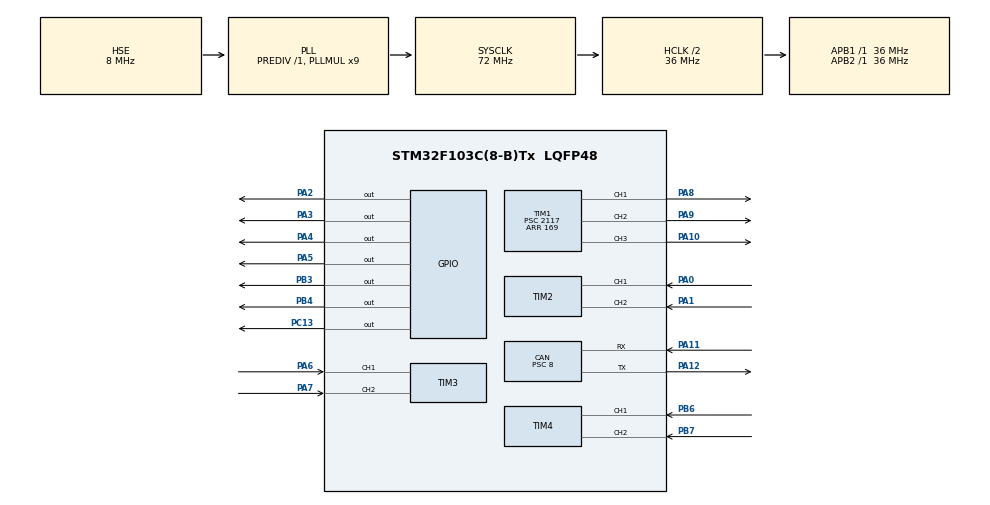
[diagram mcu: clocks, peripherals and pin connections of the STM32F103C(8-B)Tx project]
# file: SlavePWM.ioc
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CAN.ABOM=ENABLE
CAN.AWUM=ENABLE
CAN.BS1=CAN_BS1_4TQ
CAN.BS2=CAN_BS2_4TQ
CAN.CalculateBaudRate=500000
CAN.CalculateTimeBit=2000
CAN.CalculateTimeQuantum=222.22222222222223
CAN.NART=ENABLE
CAN.Prescaler=8
Mcu.Family=STM32F1
Mcu.Name=STM32F103C(8-B)Tx
Mcu.Package=LQFP48
NVIC.PriorityGroup=NVIC_PRIORITYGROUP_4
NVIC.TIM1_BRK_IRQn=true\:0\:0\:false\:false\:true\:true\:true\:true
NVIC.TIM1_UP_IRQn=true\:0\:0\:false\:false\:true\:true\:true\:true
NVIC.TIM2_IRQn=true\:0\:0\:false\:false\:true\:true\:true\:true
NVIC.TIM3_IRQn=true\:0\:0\:false\:false\:true\:true\:true\:true
NVIC.TIM4_IRQn=true\:0\:0\:false\:false\:true\:true\:true\:true
NVIC.USB_LP_CAN1_RX0_IRQn=true\:0\:0\:false\:false\:true\:true\:true\:true
PA0-WKUP.GPIO_PuPd=GPIO_PULLUP
PA0-WKUP.Signal=S_TIM2_CH1_ETR
PA1.GPIO_PuPd=GPIO_PULLUP
PA1.Signal=S_TIM2_CH2
PA10.Signal=S_TIM1_CH3
PA11.GPIO_PuPd=GPIO_PULLUP
PA11.Mode=CAN_Activate
PA11.Signal=CAN_RX
PA12.Mode=CAN_Activate
PA12.Signal=CAN_TX
PA13.Mode=Serial_Wire
PA13.Signal=SYS_JTMS-SWDIO
PA14.Mode=Serial_Wire
PA14.Signal=SYS_JTCK-SWCLK
PA2.PinState=GPIO_PIN_RESET
PA2.Signal=GPIO_Output
PA3.Signal=GPIO_Output
PA4.Signal=GPIO_Output
PA5.Signal=GPIO_Output
PA6.GPIO_PuPd=GPIO_PULLUP
PA6.Signal=S_TIM3_CH1
PA7.GPIO_PuPd=GPIO_PULLUP
PA7.Signal=S_TIM3_CH2
PA8.Signal=S_TIM1_CH1
PA9.Signal=S_TIM1_CH2
PB3.Signal=GPIO_Output
PB4.Signal=GPIO_Output
PB6.GPIO_PuPd=GPIO_PULLUP
PB6.Signal=S_TIM4_CH1
PB7.GPIO_PuPd=GPIO_PULLUP
PB7.Signal=S_TIM4_CH2
PC13-TAMPER-RTC.PinState=GPIO_PIN_SET
PC13-TAMPER-RTC.Signal=GPIO_Output
PD0-OSC_IN.Mode=HSE-External-Oscillator
PD0-OSC_IN.Signal=RCC_OSC_IN
PD1-OSC_OUT.Mode=HSE-External-Oscillator
PD1-OSC_OUT.Signal=RCC_OSC_OUT
ProjectManager.HeapSize=0x200
ProjectManager.StackSize=0x400
ProjectManager.TargetToolchain=MDK-ARM V5
RCC.AHBCLKDivider=RCC_SYSCLK_DIV2
RCC.AHBFreq_Value=36000000
RCC.APB1Freq_Value=36000000
RCC.APB1TimFreq_Value=36000000
RCC.APB2Freq_Value=36000000
RCC.APB2TimFreq_Value=36000000
RCC.HCLKFreq_Value=36000000
RCC.PLLMUL=RCC_PLL_MUL9
RCC.PLLSourceVirtual=RCC_PLLSOURCE_HSE
RCC.SYSCLKFreq_VALUE=72000000
RCC.SYSCLKSource=RCC_SYSCLKSOURCE_PLLCLK
RCC.USBFreq_Value=72000000
SH.S_TIM1_CH1.0=TIM1_CH1,PWM Generation1 CH1
SH.S_TIM1_CH2.0=TIM1_CH2,PWM Generation2 CH2
SH.S_TIM1_CH3.0=TIM1_CH3,PWM Generation3 CH3
SH.S_TIM2_CH1_ETR.0=TIM2_CH1,Encoder_Interface
SH.S_TIM2_CH2.0=TIM2_CH2,Encoder_Interface
SH.S_TIM3_CH1.0=TIM3_CH1,Encoder_Interface
SH.S_TIM3_CH2.0=TIM3_CH2,Encoder_Interface
SH.S_TIM4_CH1.0=TIM4_CH1,Encoder_Interface
SH.S_TIM4_CH2.0=TIM4_CH2,Encoder_Interface
TIM1.Channel-PWM\ Generation1\ CH1=TIM_CHANNEL_1
TIM1.Channel-PWM\ Generation2\ CH2=TIM_CHANNEL_2
TIM1.Channel-PWM\ Generation3\ CH3=TIM_CHANNEL_3
TIM1.Period=169
TIM1.Prescaler=2117
TIM2.EncoderMode=TIM_ENCODERMODE_TI12
TIM3.EncoderMode=TIM_ENCODERMODE_TI12
TIM4.EncoderMode=TIM_ENCODERMODE_TI12
board=custom

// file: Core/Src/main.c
/* USER CODE BEGIN Header */
/**
  ******************************************************************************
  * @file           : main.c
  * @brief          : Main program body
  ******************************************************************************
  * @attention
  *
  * Copyright (c) 2023 STMicroelectronics.
  * All rights reserved.
  *
  * This software is licensed under terms that can be found in the LICENSE file
  * in the root directory of this software component.
  * If no LICENSE file comes with this software, it is provided AS-IS.
  *
  ******************************************************************************
  */
/* USER CODE END Header */
#include "main.h"

/* USER CODE BEGIN Includes */
#include <stdio.h>
#include "stdlib.h"
#include "string.h"
#include "math.h"
/* USER CODE END Includes */

/* USER CODE BEGIN PD */
#define number 10	// STT cua module

#define sampletime 0.01 // Thoi gian lay mau = Chu ky PWM
#define encoder_resolution  11 // Do phan giai encoder chua qua hop so
#define gear_ratio 35
#define PI 2*acos(0.0)

/* USER CODE END PD */

CAN_HandleTypeDef hcan;

TIM_HandleTypeDef htim1;
TIM_HandleTypeDef htim2;
TIM_HandleTypeDef htim3;
TIM_HandleTypeDef htim4;

/* USER CODE BEGIN PV */
CAN_TxHeaderTypeDef TxHeader;
CAN_RxHeaderTypeDef RxHeader;
CAN_FilterTypeDef CanFilter;

//Cac bien cho CAN
uint16_t TxID = 0x502; // Ðia chi gui tin nhan di den Master
uint16_t RegID = 0x501; // Ðia chi nhan tin nhan dang ki
uint16_t DataID = 0x503; // Dia chi nhan tin nhan Data de dieu khien dong co
uint16_t StateID = 0x504; // Dia chi nhan tin nhan Trang thai và che do hoat d?ng
uint16_t TxVerifyID = 0x505;

uint32_t TxMailbox;
uint8_t TxData[8];  // Mang chua tin nhan gui di
uint8_t RxData[8];  // Mang chua tin nhan nhan duoc

uint8_t START_CAN = 0;  // Bien de bat dau gui data dieu khien
uint8_t State = 0, Mode = 0;
uint8_t TT_Receive = 0; // Cac bien trang thai

// Du lieu nhan duoc
int16_t pos, pre_pos, pos1; // Goc can xoay tai tam cua module
int16_t dir, pre_dir; // Huong can di chuyen cua hop
uint16_t vel, pre_vel; // Toc do khi di chuyen
uint16_t count_data = 0, pre_count =0;

//Cac bien cho Encoder và PWM
volatile short count; // Bien de luu gia tri Encoder doc duoc
short encoder[3];

// Cac bien PID Vi tri
float Pos[4];
float KP_P = 5.6;
float KI_P = 0.026;
float KD_P = 0.0156;
float error_P[3] ;
float error1_P[3];
float error2_P[3];
float pwm_output_P[3] ;
float lastpwm_output_P[3];
float alpha_P;
float	beta_P;
float	gamma_P;

// Cac bien PID Van toc
float V[3];
float KP_V = 0.5;
float KI_V = 0.005;
float KD_V = 0.01;
int8_t cur_dir[3] = {1, 1, 1}; // Huong quay cua dong co khi doc encoder
float cur_speed[3];
float error_V[3] ;
float error1_V[3];
float error2_V[3];
float pwm_output_V[3] ;
float lastpwm_output_V[3];
float alpha_V;
float	beta_V;
float	gamma_V;

/* USER CODE END PV */

void SystemClock_Config(void);
static void MX_GPIO_Init(void);
static void MX_CAN_Init(void);
static void MX_TIM1_Init(void);
static void MX_TIM2_Init(void);
static void MX_TIM3_Init(void);
static void MX_TIM4_Init(void);
/* USER CODE BEGIN PFP */

/*-----Ham gui tin nhan CAN-----*/
void CAN_Send(uint16_t ID, uint8_t leng)
{
	// Thiet lap các thông so cho gói tin du lieu can gui di
  TxHeader.StdId =  ID  ;        // Dia chi ID cua goi tin can gui di
  TxHeader.RTR = CAN_RTR_DATA;      // Loai gói tin du lieu
  TxHeader.IDE = CAN_ID_STD;       // Kieu dia chi ID
  TxHeader.DLC = leng;                // Ðo dài du lieu can gui di
  // Thêm gói tin du lieu vào hàng doi truyen và truyen di trên mang CAN
  if (HAL_CAN_AddTxMessage(&hcan, &TxHeader, TxData, &TxMailbox) == HAL_OK)
  {
  }
	else
	{
		Error_Handler();
	}
  // Cho den khi gói tin du lieu duoc truyen hoàn tat
  while (HAL_CAN_GetTxMailboxesFreeLevel(&hcan) != 3)
  {
  }
}

/*-----Ham ngat nhan du lieu CAN và xu ly-----*/
void HAL_CAN_RxFifo0MsgPendingCallback(CAN_HandleTypeDef *hcan)
{
	TT_Receive = 3;
	if(HAL_CAN_GetRxMessage(hcan, CAN_RX_FIFO0, &RxHeader, RxData) == HAL_OK)
	{
		TT_Receive = 2;

		// Nhan tin nhan xac nhan da ket noi giao tiep CAN thanh cong
		if(RxHeader.StdId ==  RegID && RxData[0] == (int)number)
		{
			TT_Receive = 1;
			TxData[0] = (int)number;
			CAN_Send(TxID, 1);
			START_CAN = 1;
			HAL_GPIO_WritePin(GPIOC, GPIO_PIN_13, GPIO_PIN_RESET);
		}
		// Nhan tin nhan trang thai hoat dong và che do
		if(RxHeader.StdId ==  StateID && RxData[0] == (int)number)
		{
			State = RxData[1];
			Mode = RxData[2];

			TxData[0] = (int)number; //Gui tin nhan xac nhan
			CAN_Send(TxVerifyID, 1);
		}
		//Xu li tin data nhan duoc de dieu khien
		if(RxHeader.StdId ==  DataID && RxData[0] == (int)number)
		{
			//Xu lí bien du lieu doc duoc
			pos = RxData[1] << 8 | RxData[2];
			dir = RxData[3] << 8 | RxData[4];
			vel = RxData[5] << 8 | RxData[6];

			TxData[0] = (int)number; // Gui tin nhan xac nhan
			CAN_Send(TxVerifyID, 1);
			count_data ++;
		}
	}
}

/*-----Ham doc gia tri Encoder và xac dinh chieu quay-----*/
int readEncoder(uint8_t motor) // motor chi stt cua dong co. 0 1 2
{
	switch(motor)
	{
		case 0:
		count = __HAL_TIM_GET_COUNTER(&htim2);
//		__HAL_TIM_SetCounter(&htim2, 0);
		break;

		case 1:
		count = __HAL_TIM_GET_COUNTER(&htim3);
//		__HAL_TIM_SetCounter(&htim3, 0);
		break;

		case 2:
		count = __HAL_TIM_GET_COUNTER(&htim4);
//		__HAL_TIM_SetCounter(&htim4, 0);
		break;
	}

	if((int)count > 32768)
	{
		count = count - 65536;
	}

	return count;
}

/* -----Ham dieu khien dong co quay thuan-----V----*/
void Forward(uint8_t motor, float velocity) // vel
{
	switch(motor)
	{
		case 0:
			HAL_GPIO_WritePin(GPIOB, GPIO_PIN_4, GPIO_PIN_RESET); // chan In 1
			HAL_GPIO_WritePin(GPIOB, GPIO_PIN_3, GPIO_PIN_SET);	// chan In 2
			__HAL_TIM_SetCompare(&htim1, TIM_CHANNEL_3, velocity); // Chan Enable
			break;
		case 1:
			HAL_GPIO_WritePin(GPIOA, GPIO_PIN_3, GPIO_PIN_RESET); // chan In 1
			HAL_GPIO_WritePin(GPIOA, GPIO_PIN_2, GPIO_PIN_SET);	// chan In 2
			__HAL_TIM_SetCompare(&htim1, TIM_CHANNEL_1, velocity); // Chan Enable
			break;
		case 2:
			HAL_GPIO_WritePin(GPIOA, GPIO_PIN_4, GPIO_PIN_RESET); // chan In 1
			HAL_GPIO_WritePin(GPIOA, GPIO_PIN_5, GPIO_PIN_SET);	// chan In 2
			__HAL_TIM_SetCompare(&htim1, TIM_CHANNEL_2, velocity); // Chan Enable
			break;
	}
}
/* -----Ham dieu khien dong co quay nghich-----V----*/
void Backward(uint8_t motor, float velocity) // vel
{
	switch(motor)
	{
		case 0:
			HAL_GPIO_WritePin(GPIOB, GPIO_PIN_4, GPIO_PIN_SET); // chan In 1
			HAL_GPIO_WritePin(GPIOB, GPIO_PIN_3, GPIO_PIN_RESET);	// chan In 2
			__HAL_TIM_SetCompare(&htim1, TIM_CHANNEL_3, velocity); // Chan Enable
			break;
		case 1:
			HAL_GPIO_WritePin(GPIOA, GPIO_PIN_3, GPIO_PIN_SET); // chan In 1
			HAL_GPIO_WritePin(GPIOA, GPIO_PIN_2, GPIO_PIN_RESET);	// chan In 2
			__HAL_TIM_SetCompare(&htim1, TIM_CHANNEL_1, velocity); // Chan Enable
			break;
		case 2:
			HAL_GPIO_WritePin(GPIOA, GPIO_PIN_4, GPIO_PIN_SET); // chan In 1
			HAL_GPIO_WritePin(GPIOA , GPIO_PIN_5, GPIO_PIN_RESET);	// chan In 2
			__HAL_TIM_SetCompare(&htim1, TIM_CHANNEL_2, velocity); // Chan Enable
			break;
	}
}
/* -----Ham dung dong co-----V----*/
void Stop(uint8_t motor)
{
	switch(motor)
	{
		case 0:
			HAL_GPIO_WritePin(GPIOB, GPIO_PIN_4, GPIO_PIN_RESET); // chan In 1
			HAL_GPIO_WritePin(GPIOB, GPIO_PIN_3, GPIO_PIN_RESET);	// chan In 2
			__HAL_TIM_SetCounter(&htim2, 0);
			break;
		case 1:
			HAL_GPIO_WritePin(GPIOA, GPIO_PIN_3, GPIO_PIN_RESET); // chan In 1
			HAL_GPIO_WritePin(GPIOA, GPIO_PIN_2, GPIO_PIN_RESET);	// chan In 2
			__HAL_TIM_SetCounter(&htim3, 0);
			break;
		case 2:
			HAL_GPIO_WritePin(GPIOA, GPIO_PIN_4, GPIO_PIN_RESET); // chan In 1
			HAL_GPIO_WritePin(GPIOA, GPIO_PIN_5, GPIO_PIN_RESET);	// chan In 2
			__HAL_TIM_SetCounter(&htim4, 0);
			break;
	}
}

int Ctl_Pos(float desired_pos)
{
	alpha_P = 2*sampletime*KP_P+KI_P*sampletime*sampletime+2*KD_P;
	beta_P = KI_P*sampletime*sampletime-4*KD_P-2*KP_P*sampletime;
	gamma_P = 2*KD_P;

	do
	{
		if(State == 0) break;

		encoder[0] = readEncoder(0);
		Pos[0] = (float)encoder[0]*360/(4*gear_ratio*encoder_resolution);
		error_P[0] = desired_pos - Pos[0];

		pwm_output_P[0] = (alpha_P*error_P[0] + beta_P*error1_P[0] + gamma_P*error2_P[0] + 2*sampletime*lastpwm_output_P[0])/(2*sampletime);

		lastpwm_output_P[0] = pwm_output_P[0];
		error2_P[0]=error1_P[0];
		error1_P[0]=error_P[0];

		//Gioi han gia tri PWM trong khoang tu -170 den 170;
		if(pwm_output_P[0] > 50) pwm_output_P[0] = 50;
		else if(pwm_output_P[0] < -50) pwm_output_P[0] = -50;

		for(int i = 0; i < 3; i++)
		{
			if(pwm_output_P[0] > 0) Forward(i, pwm_output_P[0]);
			else if(pwm_output_P[0] < 0) Backward(i, fabs(pwm_output_P[0]));
			else Stop(i);
		}

		HAL_Delay(10);
	}
		while(error_P[0] > 3 || error_P[0] < -3);
		for(int i = 0; i < 3; i++)
		{
			Stop(i);
		}

}

void ctl_Vel(float desired_dir, float desired_vel)
{
	alpha_V=2*sampletime*KP_V+KI_V*sampletime*sampletime+2*KD_V;
	beta_V=KI_V*sampletime*sampletime-4*KD_V-2*KP_V*sampletime;
	gamma_V=2*KD_V;

	float dirR = dir * PI /180;
	V[0]= vel*sin(dirR) ;
	V[1] = vel*((sqrt(3)/2)*cos(dirR) - sin(dirR)/2);
	V[2] = vel*(-(sqrt(3)/2)*cos(dirR) - sin(dirR)/2);

	for(int i = 0; i < 3; i++)
	{
		if(V[i] > 0) Forward(i, V[i]);
		else if(V[i] < 0) Backward(i, fabs(V[i]));
		else Stop(i);
	}

	/*------------------- PID VAN TOC------------------*/
//	do
//	{
//		for(int i = 0; i < 3; i++)
//		{
//			encoder[i] = readEncoder(i);
//
//			cur_speed[i] = (encoder[i]*60/(2*sampletime*gear_ratio*encoder_resolution));
//			error_V[i] = V[i] - cur_speed[i];
//
//			pwm_output_V[i] = (alpha_V*error_V[i] + beta_V*error1_V[i] + gamma_V*error2_V[i] + 2*sampletime*lastpwm_output_V[i])/(2*sampletime);
//
//			lastpwm_output_V[i] = pwm_output_V[i];
//			error2_V[i]=error1_V[i];
//			error1_V[i]=error_V[i];
//
//			// Gioi han PWM Output
//			if(pwm_output_V[i]>170) pwm_output_V[i] = 170;
//			else if(pwm_output_V[i] <-170) pwm_output_V[i] = -170;
//		}
//
//		for(int i = 0; i < 3; i++)
//		{
//			if(pwm_output_V[i] > 0) Forward(i, pwm_output_V[i]);
//			else if(pwm_output_V[i] < 0) Backward(i, fabs(pwm_output_V[i]));
//			else Stop(i);
//
//		}
//		__HAL_TIM_SetCounter(&htim2, 0);
//		__HAL_TIM_SetCounter(&htim3, 0);
//		__HAL_TIM_SetCounter(&htim4, 0);
//		HAL_Delay(10);
//	} while(error_V[0] > 2 || error_V[0] < -2);
}
/* USER CODE END PFP */

int main(void)
{

  /* MCU Configuration--------------------------------------------------------*/

  /* Reset of all peripherals, Initializes the Flash interface and the Systick. */
  HAL_Init();

  /* Configure the system clock */
  SystemClock_Config();

  /* Initialize all configured peripherals */
  MX_GPIO_Init();
  MX_CAN_Init();
  MX_TIM1_Init();
  MX_TIM2_Init();
  MX_TIM3_Init();
  MX_TIM4_Init();
  /* USER CODE BEGIN 2 */
	HAL_TIM_PWM_Start(&htim1, TIM_CHANNEL_1); 															// Bat dau che do PWM cua Timer1 Channel 1
	HAL_TIM_PWM_Start(&htim1, TIM_CHANNEL_2); 															// Bat dau che do PWM cua Timer1 Channel 2
	HAL_TIM_PWM_Start(&htim1, TIM_CHANNEL_3); 															// Bat dau che do PWM cua Timer1 Channel 3

	HAL_TIM_Encoder_Start_IT(&htim2, TIM_CHANNEL_1 | TIM_CHANNEL_2);							// Bat dau che do Read Encoder cua Timer2 - Channel 1&2
	HAL_TIM_Encoder_Start_IT(&htim3, TIM_CHANNEL_1 | TIM_CHANNEL_2);							// Bat dau che do Read Encoder cua Timer3 - Channel 1&2
	HAL_TIM_Encoder_Start_IT(&htim4, TIM_CHANNEL_1 | TIM_CHANNEL_2);							// Bat dau che do Read Encoder cua Timer4 - Channel 1&2

	if(HAL_CAN_Start(&hcan) != HAL_OK)
	{
		Error_Handler();
	}

	if(HAL_CAN_ActivateNotification(&hcan, CAN_IT_RX_FIFO0_MSG_PENDING) != HAL_OK)
	{
		Error_Handler();
	}

	HAL_NVIC_SetPriority(CAN_IT_RX_FIFO0_MSG_PENDING, 0, 0);
	HAL_NVIC_EnableIRQ(CAN_IT_RX_FIFO0_MSG_PENDING);

	Stop(0);
	Stop(1);
	Stop(2);

  /* USER CODE END 2 */

  /* Infinite loop */
  while (1)
  {

    /* USER CODE BEGIN 3 */
		if(START_CAN == 1)
		{
			if(State == 1)
			{
				/*------- Chuong Trinh TEST--------*/
				if(Mode == 3)
				{
					if(pos != pre_pos)
					{
						pos1 = (float)70/29*pos; // pos: goc can xoay cua module. pos1: goc xoay cua banh xe
						Ctl_Pos(pos1);
						pre_pos = pos;
						pre_vel = vel;
					}
					else if(vel != pre_vel)
					{
						if(vel > 0)
						{
							for(int i = 0; i < 3; i++)
							{
								Forward(i, vel);
							}
						}
						else if(vel < 0)
						{
							for(int i = 0; i < 3; i++)
							{
								Backward(i, vel);
							}
						}
						else if(vel == 0)
						{
							for(int i = 0; i < 3; i++)
							{
								Stop(i);
							}
						}
						pre_pos = pos;
						pre_vel = vel;
					}
				}
				/*--- Chuong trinh dieu khien chinh (Mode = 1 or Mode = 2) ---*/
				else if(Mode == 2)
				{
					if(count_data != pre_count)
					{
						if(pos != 0)
						{
							// DK Vitri

							pos1 = (float)70/29*pos; // pos: goc can xoay cua module. pos1: goc xoay cua banh xe
							Ctl_Pos(pos1);

							pre_pos = pos;
						}
							// DK Van toc
						else
						{
							for(int i = 0; i < 3; i++)
							{
								Stop(i);
							}

							ctl_Vel(dir, vel); //vel: Van toc trung binh module

							pre_dir = dir;
							pre_vel = vel;
						}
						pre_count = count_data;
					}
				}
			}
			else //State = 0 : Stop ALL
			{
				for(int k = 0; k < 3; k++)
				{
					Stop(k);
				}
			}
		}
	}
  /* USER CODE END 3 */
}
void SystemClock_Config(void)
{
  RCC_OscInitTypeDef RCC_OscInitStruct = {0};
  RCC_ClkInitTypeDef RCC_ClkInitStruct = {0};

  /** Initializes the RCC Oscillators according to the specified parameters
  * in the RCC_OscInitTypeDef structure.
  */
  RCC_OscInitStruct.OscillatorType = RCC_OSCILLATORTYPE_HSE;
  RCC_OscInitStruct.HSEState = RCC_HSE_ON;
  RCC_OscInitStruct.HSEPredivValue = RCC_HSE_PREDIV_DIV1;
  RCC_OscInitStruct.HSIState = RCC_HSI_ON;
  RCC_OscInitStruct.PLL.PLLState = RCC_PLL_ON;
  RCC_OscInitStruct.PLL.PLLSource = RCC_PLLSOURCE_HSE;
  RCC_OscInitStruct.PLL.PLLMUL = RCC_PLL_MUL9;
  if (HAL_RCC_OscConfig(&RCC_OscInitStruct) != HAL_OK)
  {
    Error_Handler();
  }

  /** Initializes the CPU, AHB and APB buses clocks
  */
  RCC_ClkInitStruct.ClockType = RCC_CLOCKTYPE_HCLK|RCC_CLOCKTYPE_SYSCLK
                              |RCC_CLOCKTYPE_PCLK1|RCC_CLOCKTYPE_PCLK2;
  RCC_ClkInitStruct.SYSCLKSource = RCC_SYSCLKSOURCE_PLLCLK;
  RCC_ClkInitStruct.AHBCLKDivider = RCC_SYSCLK_DIV2;
  RCC_ClkInitStruct.APB1CLKDivider = RCC_HCLK_DIV1;
  RCC_ClkInitStruct.APB2CLKDivider = RCC_HCLK_DIV1;

  if (HAL_RCC_ClockConfig(&RCC_ClkInitStruct, FLASH_LATENCY_2) != HAL_OK)
  {
    Error_Handler();
  }
}

static void MX_CAN_Init(void)
{

  hcan.Instance = CAN1;
  hcan.Init.Prescaler = 8;
  hcan.Init.Mode = CAN_MODE_NORMAL;
  hcan.Init.SyncJumpWidth = CAN_SJW_1TQ;
  hcan.Init.TimeSeg1 = CAN_BS1_4TQ;
  hcan.Init.TimeSeg2 = CAN_BS2_4TQ;
  hcan.Init.TimeTriggeredMode = DISABLE;
  hcan.Init.AutoBusOff = ENABLE;
  hcan.Init.AutoWakeUp = ENABLE;
  hcan.Init.AutoRetransmission = ENABLE;
  hcan.Init.ReceiveFifoLocked = DISABLE;
  hcan.Init.TransmitFifoPriority = DISABLE;
  if (HAL_CAN_Init(&hcan) != HAL_OK)
  {
    Error_Handler();
  }
  /* USER CODE BEGIN CAN_Init 2 */

	/* CAU HINH BO LOC CAN----------------------*/
  CanFilter.FilterActivation = CAN_FILTER_ENABLE;
  CanFilter.FilterBank = 1;
  CanFilter.FilterFIFOAssignment = CAN_FILTER_FIFO0;
  CanFilter.FilterIdHigh = 0x0000;
  CanFilter.FilterIdLow = 0x0000;
  CanFilter.FilterMaskIdHigh = 0x0000;
  CanFilter.FilterMaskIdLow = 0x0000;
  CanFilter.FilterMode = CAN_FILTERMODE_IDMASK;
  CanFilter.FilterScale = CAN_FILTERSCALE_32BIT;
  CanFilter.SlaveStartFilterBank = 1;
  if(HAL_CAN_ConfigFilter(&hcan, &CanFilter) != HAL_OK)
  {
	  Error_Handler();
  }
  /* USER CODE END CAN_Init 2 */

}

static void MX_TIM1_Init(void)
{

  TIM_MasterConfigTypeDef sMasterConfig = {0};
  TIM_OC_InitTypeDef sConfigOC = {0};
  TIM_BreakDeadTimeConfigTypeDef sBreakDeadTimeConfig = {0};

  htim1.Instance = TIM1;
  htim1.Init.Prescaler = 2117;
  htim1.Init.CounterMode = TIM_COUNTERMODE_UP;
  htim1.Init.Period = 169;
  htim1.Init.ClockDivision = TIM_CLOCKDIVISION_DIV1;
  htim1.Init.RepetitionCounter = 0;
  htim1.Init.AutoReloadPreload = TIM_AUTORELOAD_PRELOAD_DISABLE;
  if (HAL_TIM_PWM_Init(&htim1) != HAL_OK)
  {
    Error_Handler();
  }
  sMasterConfig.MasterOutputTrigger = TIM_TRGO_RESET;
  sMasterConfig.MasterSlaveMode = TIM_MASTERSLAVEMODE_DISABLE;
  if (HAL_TIMEx_MasterConfigSynchronization(&htim1, &sMasterConfig) != HAL_OK)
  {
    Error_Handler();
  }
  sConfigOC.OCMode = TIM_OCMODE_PWM1;
  sConfigOC.Pulse = 0;
  sConfigOC.OCPolarity = TIM_OCPOLARITY_HIGH;
  sConfigOC.OCNPolarity = TIM_OCNPOLARITY_HIGH;
  sConfigOC.OCFastMode = TIM_OCFAST_DISABLE;
  sConfigOC.OCIdleState = TIM_OCIDLESTATE_RESET;
  sConfigOC.OCNIdleState = TIM_OCNIDLESTATE_RESET;
  if (HAL_TIM_PWM_ConfigChannel(&htim1, &sConfigOC, TIM_CHANNEL_1) != HAL_OK)
  {
    Error_Handler();
  }
  if (HAL_TIM_PWM_ConfigChannel(&htim1, &sConfigOC, TIM_CHANNEL_2) != HAL_OK)
  {
    Error_Handler();
  }
  if (HAL_TIM_PWM_ConfigChannel(&htim1, &sConfigOC, TIM_CHANNEL_3) != HAL_OK)
  {
    Error_Handler();
  }
  sBreakDeadTimeConfig.OffStateRunMode = TIM_OSSR_DISABLE;
  sBreakDeadTimeConfig.OffStateIDLEMode = TIM_OSSI_DISABLE;
  sBreakDeadTimeConfig.LockLevel = TIM_LOCKLEVEL_OFF;
  sBreakDeadTimeConfig.DeadTime = 0;
  sBreakDeadTimeConfig.BreakState = TIM_BREAK_DISABLE;
  sBreakDeadTimeConfig.BreakPolarity = TIM_BREAKPOLARITY_HIGH;
  sBreakDeadTimeConfig.AutomaticOutput = TIM_AUTOMATICOUTPUT_DISABLE;
  if (HAL_TIMEx_ConfigBreakDeadTime(&htim1, &sBreakDeadTimeConfig) != HAL_OK)
  {
    Error_Handler();
  }
  HAL_TIM_MspPostInit(&htim1);

}

static void MX_TIM2_Init(void)
{

  TIM_Encoder_InitTypeDef sConfig = {0};
  TIM_MasterConfigTypeDef sMasterConfig = {0};

  htim2.Instance = TIM2;
  htim2.Init.Prescaler = 0;
  htim2.Init.CounterMode = TIM_COUNTERMODE_UP;
  htim2.Init.Period = 65535;
  htim2.Init.ClockDivision = TIM_CLOCKDIVISION_DIV1;
  htim2.Init.AutoReloadPreload = TIM_AUTORELOAD_PRELOAD_DISABLE;
  sConfig.EncoderMode = TIM_ENCODERMODE_TI12;
  sConfig.IC1Polarity = TIM_ICPOLARITY_RISING;
  sConfig.IC1Selection = TIM_ICSELECTION_DIRECTTI;
  sConfig.IC1Prescaler = TIM_ICPSC_DIV1;
  sConfig.IC1Filter = 0;
  sConfig.IC2Polarity = TIM_ICPOLARITY_RISING;
  sConfig.IC2Selection = TIM_ICSELECTION_DIRECTTI;
  sConfig.IC2Prescaler = TIM_ICPSC_DIV1;
  sConfig.IC2Filter = 0;
  if (HAL_TIM_Encoder_Init(&htim2, &sConfig) != HAL_OK)
  {
    Error_Handler();
  }
  sMasterConfig.MasterOutputTrigger = TIM_TRGO_RESET;
  sMasterConfig.MasterSlaveMode = TIM_MASTERSLAVEMODE_DISABLE;
  if (HAL_TIMEx_MasterConfigSynchronization(&htim2, &sMasterConfig) != HAL_OK)
  {
    Error_Handler();
  }

}

static void MX_TIM3_Init(void)
{

  TIM_Encoder_InitTypeDef sConfig = {0};
  TIM_MasterConfigTypeDef sMasterConfig = {0};

  htim3.Instance = TIM3;
  htim3.Init.Prescaler = 0;
  htim3.Init.CounterMode = TIM_COUNTERMODE_UP;
  htim3.Init.Period = 65535;
  htim3.Init.ClockDivision = TIM_CLOCKDIVISION_DIV1;
  htim3.Init.AutoReloadPreload = TIM_AUTORELOAD_PRELOAD_DISABLE;
  sConfig.EncoderMode = TIM_ENCODERMODE_TI12;
  sConfig.IC1Polarity = TIM_ICPOLARITY_RISING;
  sConfig.IC1Selection = TIM_ICSELECTION_DIRECTTI;
  sConfig.IC1Prescaler = TIM_ICPSC_DIV1;
  sConfig.IC1Filter = 0;
  sConfig.IC2Polarity = TIM_ICPOLARITY_RISING;
  sConfig.IC2Selection = TIM_ICSELECTION_DIRECTTI;
  sConfig.IC2Prescaler = TIM_ICPSC_DIV1;
  sConfig.IC2Filter = 0;
  if (HAL_TIM_Encoder_Init(&htim3, &sConfig) != HAL_OK)
  {
    Error_Handler();
  }
  sMasterConfig.MasterOutputTrigger = TIM_TRGO_RESET;
  sMasterConfig.MasterSlaveMode = TIM_MASTERSLAVEMODE_DISABLE;
  if (HAL_TIMEx_MasterConfigSynchronization(&htim3, &sMasterConfig) != HAL_OK)
  {
    Error_Handler();
  }

}

static void MX_TIM4_Init(void)
{

  TIM_Encoder_InitTypeDef sConfig = {0};
  TIM_MasterConfigTypeDef sMasterConfig = {0};

  htim4.Instance = TIM4;
  htim4.Init.Prescaler = 0;
  htim4.Init.CounterMode = TIM_COUNTERMODE_UP;
  htim4.Init.Period = 65535;
  htim4.Init.ClockDivision = TIM_CLOCKDIVISION_DIV1;
  htim4.Init.AutoReloadPreload = TIM_AUTORELOAD_PRELOAD_DISABLE;
  sConfig.EncoderMode = TIM_ENCODERMODE_TI12;
  sConfig.IC1Polarity = TIM_ICPOLARITY_RISING;
  sConfig.IC1Selection = TIM_ICSELECTION_DIRECTTI;
  sConfig.IC1Prescaler = TIM_ICPSC_DIV1;
  sConfig.IC1Filter = 0;
  sConfig.IC2Polarity = TIM_ICPOLARITY_RISING;
  sConfig.IC2Selection = TIM_ICSELECTION_DIRECTTI;
  sConfig.IC2Prescaler = TIM_ICPSC_DIV1;
  sConfig.IC2Filter = 0;
  if (HAL_TIM_Encoder_Init(&htim4, &sConfig) != HAL_OK)
  {
    Error_Handler();
  }
  sMasterConfig.MasterOutputTrigger = TIM_TRGO_RESET;
  sMasterConfig.MasterSlaveMode = TIM_MASTERSLAVEMODE_DISABLE;
  if (HAL_TIMEx_MasterConfigSynchronization(&htim4, &sMasterConfig) != HAL_OK)
  {
    Error_Handler();
  }

}

static void MX_GPIO_Init(void)
{
  GPIO_InitTypeDef GPIO_InitStruct = {0};

  /* GPIO Ports Clock Enable */
  __HAL_RCC_GPIOC_CLK_ENABLE();
  __HAL_RCC_GPIOD_CLK_ENABLE();
  __HAL_RCC_GPIOA_CLK_ENABLE();
  __HAL_RCC_GPIOB_CLK_ENABLE();

  /*Configure GPIO pin Output Level */
  HAL_GPIO_WritePin(GPIOC, GPIO_PIN_13, GPIO_PIN_SET);

  /*Configure GPIO pin Output Level */
  HAL_GPIO_WritePin(GPIOA, GPIO_PIN_2|GPIO_PIN_3|GPIO_PIN_4|GPIO_PIN_5, GPIO_PIN_RESET);

  /*Configure GPIO pin Output Level */
  HAL_GPIO_WritePin(GPIOB, GPIO_PIN_3|GPIO_PIN_4, GPIO_PIN_RESET);

  /*Configure GPIO pin : PC13 */
  GPIO_InitStruct.Pin = GPIO_PIN_13;
  GPIO_InitStruct.Mode = GPIO_MODE_OUTPUT_PP;
  GPIO_InitStruct.Pull = GPIO_NOPULL;
  GPIO_InitStruct.Speed = GPIO_SPEED_FREQ_LOW;
  HAL_GPIO_Init(GPIOC, &GPIO_InitStruct);

  /*Configure GPIO pins : PA2 PA3 PA4 PA5 */
  GPIO_InitStruct.Pin = GPIO_PIN_2|GPIO_PIN_3|GPIO_PIN_4|GPIO_PIN_5;
  GPIO_InitStruct.Mode = GPIO_MODE_OUTPUT_PP;
  GPIO_InitStruct.Pull = GPIO_NOPULL;
  GPIO_InitStruct.Speed = GPIO_SPEED_FREQ_LOW;
  HAL_GPIO_Init(GPIOA, &GPIO_InitStruct);

  /*Configure GPIO pins : PB3 PB4 */
  GPIO_InitStruct.Pin = GPIO_PIN_3|GPIO_PIN_4;
  GPIO_InitStruct.Mode = GPIO_MODE_OUTPUT_PP;
  GPIO_InitStruct.Pull = GPIO_NOPULL;
  GPIO_InitStruct.Speed = GPIO_SPEED_FREQ_LOW;
  HAL_GPIO_Init(GPIOB, &GPIO_InitStruct);

}

void Error_Handler(void)
{
  __disable_irq();
  while (1)
  {
  }
}
